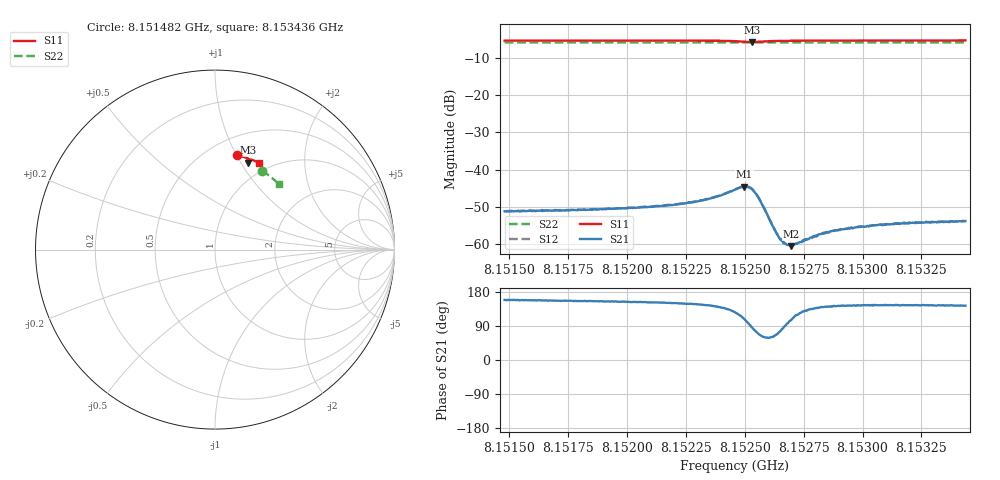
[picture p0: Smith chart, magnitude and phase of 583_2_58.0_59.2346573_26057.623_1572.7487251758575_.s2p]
#  HZ  S  RI  R  50.00
! Rohde & Schwarz Vector Network Analyzer
! Rohde-Schwarz,ZNB20-2Port,1311601062101988,3.16
! Created: UTC 3/21/2024, 1:16:24 AM
! freq[Hz]  re:S11  im:S11  re:S21  im:S21  re:S12  im:S12  re:S22  im:S22
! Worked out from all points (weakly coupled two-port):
!   401 points, 8.151482 GHz to 8.153436 GHz, reference 50 ohm
!   highest |S21| = -44.52 dB at 8.152498 GHz (marker M1); lowest = -60.5 dB at 8.152699 GHz (marker M2)
!   lowest |S11| = -5.7 dB at 8.152532 GHz (marker M3), VSWR 3.14, Z = 40.6 + j53.7 ohm
!   |S11| at or under -10 dB: nowhere
!   |S22| runs from -5.9 to -5.8 dB; largest |S21 - S12| = 0.00011
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8.1514822e9  0.1228 0.5258  -0.00258 0.00101  -0.00259 0.00106  0.2599 0.4405
8.1518095e9  0.1457 0.5203  -0.00264 0.00122  -0.0026 0.00126  0.2777 0.4291
8.1521368e9  0.169 0.5134  -0.00286 0.00156  -0.00286 0.0016  0.2946 0.417
8.1522345e9  0.1764 0.5106  -0.00301 0.00179  -0.00298 0.00184  0.2998 0.4131
8.1523273e9  0.184 0.507  -0.00324 0.00224  -0.00319 0.00227  0.3044 0.4095
8.1524005e9  0.1907 0.5019  -0.00339 0.003  -0.0034 0.00307  0.3081 0.4064
8.1524592e9  0.1945 0.4939  -0.00316 0.00437  -0.00318 0.00444  0.3108 0.404
8.1524982e9  0.192 0.4858  -0.00187 0.00564  -0.00183 0.00571  0.3125 0.4021
8.1525178e9  0.1873 0.4833  -0.000538 0.00577  -0.000527 0.00587  0.3133 0.4014
8.1525324e9  0.183 0.4838  0.000467 0.00543  0.000515 0.0055  0.3139 0.401
8.1525617e9  0.1781 0.4901  0.00158 0.00375  0.00163 0.00376  0.3151 0.4001
8.1526253e9  0.1841 0.5005  0.000711 0.00146  0.000751 0.00142  0.3186 0.3979
8.1526448e9  0.1867 0.5015  0.000373 0.00119  0.00043 0.0012  0.3196 0.3971
8.1526594e9  0.1886 0.5021  0.000149 0.0011  0.000204 0.0011  0.3203 0.3965
8.1526741e9  0.1903 0.5023  -2.17e-05 0.00101  -2.65e-05 0.00102  0.3211 0.396
8.1526985e9  0.1932 0.5024  -0.000265 0.000906  -0.000309 0.000944  0.3223 0.3949
8.1527278e9  0.1961 0.5021  -0.000538 0.000906  -0.000528 0.000882  0.3239 0.3936
8.1527865e9  0.2016 0.5012  -0.00088 0.000886  -0.000843 0.000869  0.3266 0.3913
8.1528402e9  0.2061 0.4999  -0.0011 0.0009  -0.0011 0.000921  0.3293 0.3891
8.1529135e9  0.2117 0.4982  -0.00128 0.000956  -0.0013 0.000977  0.3328 0.3859
8.1531138e9  0.2258 0.4926  -0.0015 0.00107  -0.00152 0.00109  0.3423 0.3773
8.1534362e9  0.2469 0.4831  -0.00164 0.00122  -0.00162 0.00126  0.3566 0.3628
